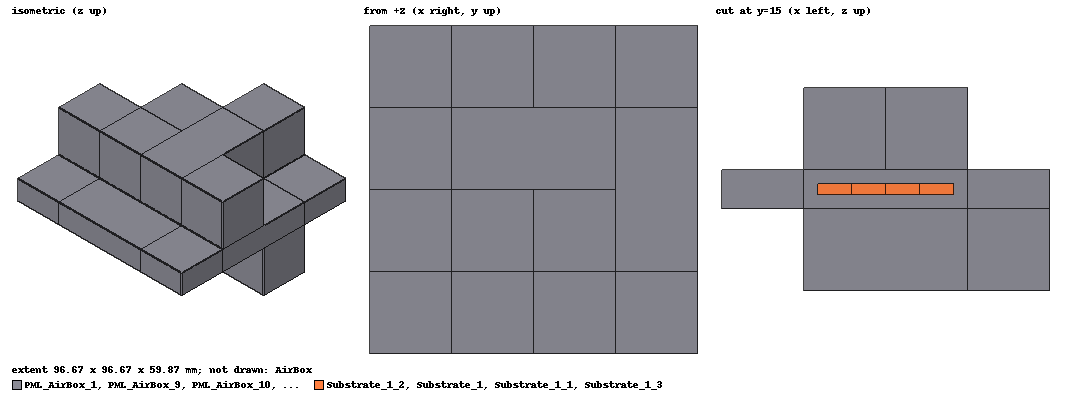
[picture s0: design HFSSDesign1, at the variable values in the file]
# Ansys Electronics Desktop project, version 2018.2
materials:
  vacuum: permittivity=1
  FR4_epoxy: permittivity=4.4 dielectric_loss_tangent=0.02
  pec: conductivity=1e+30
  PMLGroup1_Z_1: permittivity{anisotropic component1=2.7331378 component2=2.7331378 component3=0.18293991} permeability{anisotropic component1=2.7331378 component2=2.7331378 component3=0.18293991} dielectric_loss_tangent{anisotropic component1=1 component2=1 component3=-1} magnetic_loss_tangent{anisotropic component1=1 component2=1 component3=-1}
  PMLGroup1_XZ_1: permittivity{anisotropic component1=1 component2=0.01 component3=1} permeability{anisotropic component1=1 component2=0.01 component3=1} dielectric_loss_tangent{anisotropic component1=0 component2=1494.0085 component3=0} magnetic_loss_tangent{anisotropic component1=0 component2=1494.0085 component3=0}
  PMLGroup1_YZ_1: permittivity{anisotropic component1=0.01 component2=1 component3=1} permeability{anisotropic component1=0.01 component2=1 component3=1} dielectric_loss_tangent{anisotropic component1=1494.0085 component2=0 component3=0} magnetic_loss_tangent{anisotropic component1=1494.0085 component2=0 component3=0}
  PMLGroup1_XYZ_1: permittivity{anisotropic component1=2.7331378 component2=2.7331378 component3=2.7331378} permeability{anisotropic component1=2.7331378 component2=2.7331378 component3=2.7331378} dielectric_loss_tangent{anisotropic component1=1 component2=1 component3=1} magnetic_loss_tangent{anisotropic component1=1 component2=1 component3=1}

design HFSSDesign1 (HFSS, DrivenModal, model units mm)
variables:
  p = 10mm
  h = 3.2mm
  l1 = 3mm
  d = 1mm
  w = 1mm
  s = 1mm
  ra = 1.5mm
  rb = 1mm
  ls = 4mm
  la = 4.166666668mm
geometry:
  Substrate [FR4_epoxy] = box(corner=(-p /2, -p/2, 0mm), size=(p, p, h))
  Ground [pec] = box(corner=(-p /2, -p/2, 0mm), size=(p, p, -0.022mm))
  Box1 [pec] = box(corner=(d/2, -w/2, h), size=(l1, -l1, 0.035mm))
  substract1 = box(corner=(d/2, -w/2, h), size=(l1-s, -l1+s, 0.035mm))
  Box1.subtract(substract1)
  Box2 [pec] = box(corner=(-d/2, w/2, h), size=(-l1, l1, 0.035mm))
  substract2 = box(corner=(-d/2, w/2, h), size=(-l1+s, l1-s, 0.035mm))
  Box2.subtract(substract2)
  Box3 [pec] = box(corner=(2*d, -2*w, h), size=(-ls, ls, 0.035mm))
  substract3 = box(corner=(d, -ls/2 + ls/5, h), size=(-ls+d, ls/5, 0.035mm))
  substract4 = box(corner=(-d, ls/2 - ls/5, h), size=(ls-d, -ls/5, 0.035mm))
  Box3.subtract(substract3, substract4)
  Box3.rotate(axis=Z, angle=45deg)
  [Box1, Box2, Box3].rotate(axis=Z, angle=-90deg)
  Substrate_1, Substrate_2, Substrate_3 [FR4_epoxy] = Substrate.duplicate_along_line(step=(0mm, 10mm, 0mm), total=4)
  Ground_1, Ground_2, Ground_3 [pec] = Ground.duplicate_along_line(step=(0mm, 10mm, 0mm), total=4)
  Box1_1, Box1_2, Box1_3 [pec] = Box1.duplicate_along_line(step=(0mm, 10mm, 0mm), total=4)
  Box2_1, Box2_2, Box2_3 [pec] = Box2.duplicate_along_line(step=(0mm, 10mm, 0mm), total=4)
  Box3_1, Box3_2, Box3_3 [pec] = Box3.duplicate_along_line(step=(0mm, 10mm, 0mm), total=4)
  Substrate_4, Substrate_5, Substrate_6 [FR4_epoxy] = Substrate.duplicate_along_line(step=(10mm, 0mm, 0mm), total=4)
  Ground_4, Ground_5, Ground_6 [pec] = Ground.duplicate_along_line(step=(10mm, 0mm, 0mm), total=4)
  Box1_4, Box1_5, Box1_6 [pec] = Box1.duplicate_along_line(step=(10mm, 0mm, 0mm), total=4)
  Box2_4, Box2_5, Box2_6 [pec] = Box2.duplicate_along_line(step=(10mm, 0mm, 0mm), total=4)
  Box3_4, Box3_5, Box3_6 [pec] = Box3.duplicate_along_line(step=(10mm, 0mm, 0mm), total=4)
  Substrate_1_1, Substrate_1_2, Substrate_1_3 [FR4_epoxy] = Substrate_1.duplicate_along_line(step=(10mm, 0mm, 0mm), total=4)
  Substrate_2_1, Substrate_2_2, Substrate_2_3 [FR4_epoxy] = Substrate_2.duplicate_along_line(step=(10mm, 0mm, 0mm), total=4)
  Substrate_3_1, Substrate_3_2, Substrate_3_3 [FR4_epoxy] = Substrate_3.duplicate_along_line(step=(10mm, 0mm, 0mm), total=4)
  Ground_1_1, Ground_1_2, Ground_1_3 [pec] = Ground_1.duplicate_along_line(step=(10mm, 0mm, 0mm), total=4)
  Ground_2_1, Ground_2_2, Ground_2_3 [pec] = Ground_2.duplicate_along_line(step=(10mm, 0mm, 0mm), total=4)
  Ground_3_1, Ground_3_2, Ground_3_3 [pec] = Ground_3.duplicate_along_line(step=(10mm, 0mm, 0mm), total=4)
  Box1_1_1, Box1_1_2, Box1_1_3 [pec] = Box1_1.duplicate_along_line(step=(10mm, 0mm, 0mm), total=4)
  Box1_2_1, Box1_2_2, Box1_2_3 [pec] = Box1_2.duplicate_along_line(step=(10mm, 0mm, 0mm), total=4)
  Box1_3_1, Box1_3_2, Box1_3_3 [pec] = Box1_3.duplicate_along_line(step=(10mm, 0mm, 0mm), total=4)
  Box2_1_1, Box2_1_2, Box2_1_3 [pec] = Box2_1.duplicate_along_line(step=(10mm, 0mm, 0mm), total=4)
  Box2_2_1, Box2_2_2, Box2_2_3 [pec] = Box2_2.duplicate_along_line(step=(10mm, 0mm, 0mm), total=4)
  Box2_3_1, Box2_3_2, Box2_3_3 [pec] = Box2_3.duplicate_along_line(step=(10mm, 0mm, 0mm), total=4)
  Box3_1_1, Box3_1_2, Box3_1_3 [pec] = Box3_1.duplicate_along_line(step=(10mm, 0mm, 0mm), total=4)
  Box3_2_1, Box3_2_2, Box3_2_3 [pec] = Box3_2.duplicate_along_line(step=(10mm, 0mm, 0mm), total=4)
  Box3_3_1, Box3_3_2, Box3_3_3 [pec] = Box3_3.duplicate_along_line(step=(10mm, 0mm, 0mm), total=4)
  coordinate_system RelativeCS1 = origin=(0mm, 20mm, 3.235mm) x=(1mm, 0mm, 0mm) y=(0mm, 1mm, 0mm)
  [Box2_2, Box1_2, Box3_2].rotate(axis=Z, angle=90deg) in RelativeCS1
  coordinate_system RelativeCS2 = origin=(0mm, 10mm, 0mm) x=(1mm, 0mm, 0mm) y=(0mm, 1mm, 0mm) in RelativeCS1
  [Box3_3, Box1_3, Box2_3].rotate(axis=Z, angle=90deg) in RelativeCS2
  coordinate_system RelativeCS3 = origin=(10mm, -10mm, 0mm) x=(1mm, 0mm, 0mm) y=(0mm, 1mm, 0mm) in RelativeCS2
  [Box2_2_1, Box3_2_1, Box1_2_1].rotate(axis=Z, angle=90deg) in RelativeCS3
  coordinate_system RelativeCS4 = origin=(0mm, 10mm, 0mm) x=(1mm, 0mm, 0mm) y=(0mm, 1mm, 0mm) in RelativeCS3
  [Box1_3_1, Box3_3_1, Box2_3_1].rotate(axis=Z, angle=90deg) in RelativeCS4
  coordinate_system RelativeCS5 = origin=(10mm, -30mm, 0mm) x=(1mm, 0mm, 0mm) y=(0mm, 1mm, 0mm) in RelativeCS4
  [Box1_5, Box3_5, Box2_5].rotate(axis=Z, angle=90deg) in RelativeCS5
  coordinate_system RelativeCS6 = origin=(0mm, 10mm, 0mm) x=(1mm, 0mm, 0mm) y=(0mm, 1mm, 0mm) in RelativeCS5
  [Box1_1_2, Box3_1_2, Box2_1_2].rotate(axis=Z, angle=90deg) in RelativeCS6
  coordinate_system RelativeCS7 = origin=(10mm, -10mm, 0mm) x=(1mm, 0mm, 0mm) y=(0mm, 1mm, 0mm) in RelativeCS6
  [Box3_6, Box2_6, Box1_6].rotate(axis=Z, angle=90deg) in RelativeCS7
  coordinate_system RelativeCS8 = origin=(0mm, 10mm, 0mm) x=(1mm, 0mm, 0mm) y=(0mm, 1mm, 0mm) in RelativeCS7
  [Box1_1_3, Box3_1_3, Box2_1_3].rotate(axis=Z, angle=90deg) in RelativeCS8
  coordinate_system RelativeCS9 = origin=(-15mm, 5mm, -0.035mm) x=(1mm, 0mm, 0mm) y=(0mm, 1mm, 0mm) in RelativeCS8
  AirBox [vacuum] = box(corner=(-2*p - la, -2*p - la, -h - la), size=(4*p + 2*la, 4*p + 2*la, h+2*la)) in RelativeCS9
  coordinate_system FaceCS1 = face of AirBox: Origin=AirBox.vertex(1 of 8) FaceID=AirBox.face(1 of 6) AxisPosn=AirBox.vertex(2 of 8) WhichAxis=X
  PML_AirBox_1 [PMLGroup1_Z_1, oriented by FaceCS1] = sweep_along_normal(AirBox.face(1 of 6), length=2*p + la)
  coordinate_system FaceCS2 = face of AirBox: Origin=AirBox.vertex(5 of 8) FaceID=AirBox.face(2 of 6) AxisPosn=AirBox.vertex(6 of 8) WhichAxis=X
  PML_AirBox_2 [PMLGroup1_Z_1, oriented by FaceCS2] = sweep_along_normal(AirBox.face(2 of 6), length=2*p + la)
  coordinate_system FaceCS3 = face of AirBox: Origin=AirBox.vertex(4 of 8) FaceID=AirBox.face(3 of 6) AxisPosn=AirBox.vertex(7 of 8) WhichAxis=X
  PML_AirBox_3 [PMLGroup1_Z_1, oriented by FaceCS3] = sweep_along_normal(AirBox.face(3 of 6), length=2*p + la)
  coordinate_system FaceCS4 = face of AirBox: Origin=AirBox.vertex(3 of 8) FaceID=AirBox.face(4 of 6) AxisPosn=AirBox.vertex(8 of 8) WhichAxis=X
  PML_AirBox_4 [PMLGroup1_Z_1, oriented by FaceCS4] = sweep_along_normal(AirBox.face(4 of 6), length=2*p + la)
  coordinate_system FaceCS5 = face of AirBox: Origin=AirBox.vertex(2 of 8) FaceID=AirBox.face(5 of 6) AxisPosn=AirBox.vertex(5 of 8) WhichAxis=X
  PML_AirBox_5 [PMLGroup1_Z_1, oriented by FaceCS5] = sweep_along_normal(AirBox.face(5 of 6), length=2*p + la)
  coordinate_system FaceCS6 = face of AirBox: Origin=AirBox.vertex(1 of 8) FaceID=AirBox.face(6 of 6) AxisPosn=AirBox.vertex(6 of 8) WhichAxis=X
  PML_AirBox_6 [PMLGroup1_Z_1, oriented by FaceCS6] = sweep_along_normal(AirBox.face(6 of 6), length=2*p + la)
  PML_AirBox_7 [PMLGroup1_XZ_1, oriented by FaceCS3] = sweep_along_normal(PML_AirBox_1.face(at (15, -9.16667, 19.45)), length=2*p + la)
  PML_AirBox_8 [PMLGroup1_XZ_1, oriented by FaceCS4] = sweep_along_normal(PML_AirBox_1.face(at (-9.16667, 15, 19.45)), length=2*p + la)
  PML_AirBox_9 [PMLGroup1_XZ_1, oriented by FaceCS5] = sweep_along_normal(PML_AirBox_1.face(at (15, 39.1667, 19.45)), length=2*p + la)
  PML_AirBox_10 [PMLGroup1_YZ_1, oriented by FaceCS1] = sweep_along_normal(PML_AirBox_1.face(at (39.1667, 15, 19.45)), length=2*p + la)
  coordinate_system FaceCS7 = face of AirBox: Origin=AirBox.vertex(6 of 8) FaceID=AirBox.face(2 of 6) AxisPosn=AirBox.vertex(7 of 8) WhichAxis=X
  PML_AirBox_11 [PMLGroup1_YZ_1, oriented by FaceCS7] = sweep_along_normal(PML_AirBox_2.face(at (15, -9.16667, -16.25)), length=2*p + la)
  coordinate_system FaceCS8 = face of AirBox: Origin=AirBox.vertex(7 of 8) FaceID=AirBox.face(2 of 6) AxisPosn=AirBox.vertex(8 of 8) WhichAxis=X
  PML_AirBox_12 [PMLGroup1_YZ_1, oriented by FaceCS8] = sweep_along_normal(PML_AirBox_2.face(at (-9.16667, 15, -16.25)), length=2*p + la)
  PML_AirBox_13 [PMLGroup1_XZ_1, oriented by FaceCS2] = sweep_along_normal(PML_AirBox_2.face(at (15, 39.1667, -16.25)), length=2*p + la)
  PML_AirBox_14 [PMLGroup1_YZ_1, oriented by FaceCS2] = sweep_along_normal(PML_AirBox_2.face(at (39.1667, 15, -16.25)), length=2*p + la)
  PML_AirBox_15 [PMLGroup1_YZ_1, oriented by FaceCS3] = sweep_along_normal(PML_AirBox_3.face(at (-9.16667, -21.25, 1.6)), length=2*p + la)
  PML_AirBox_16 [PMLGroup1_YZ_1, oriented by FaceCS6] = sweep_along_normal(PML_AirBox_3.face(at (39.1667, -21.25, 1.6)), length=2*p + la)
  PML_AirBox_17 [PMLGroup1_YZ_1, oriented by FaceCS4] = sweep_along_normal(PML_AirBox_4.face(at (-21.25, 39.1667, 1.6)), length=2*p + la)
  PML_AirBox_18 [PMLGroup1_YZ_1, oriented by FaceCS5] = sweep_along_normal(PML_AirBox_5.face(at (39.1667, 51.25, 1.6)), length=2*p + la)
  PML_AirBox_19 [PMLGroup1_XYZ_1, oriented by FaceCS3] = sweep_along_normal(PML_AirBox_7.face(at (-9.16667, -21.25, 19.45)), length=2*p + la)
  PML_AirBox_20 [PMLGroup1_XYZ_1, oriented by FaceCS1] = sweep_along_normal(PML_AirBox_7.face(at (39.1667, -21.25, 19.45)), length=2*p + la)
  PML_AirBox_21 [PMLGroup1_XYZ_1, oriented by FaceCS4] = sweep_along_normal(PML_AirBox_8.face(at (-21.25, 39.1667, 19.45)), length=2*p + la)
  PML_AirBox_22 [PMLGroup1_XYZ_1, oriented by FaceCS5] = sweep_along_normal(PML_AirBox_9.face(at (39.1667, 51.25, 19.45)), length=2*p + la)
  PML_AirBox_23 [PMLGroup1_XYZ_1, oriented by FaceCS8] = sweep_along_normal(PML_AirBox_11.face(at (-9.16667, -21.25, -16.25)), length=2*p + la)
  PML_AirBox_24 [PMLGroup1_XYZ_1, oriented by FaceCS7] = sweep_along_normal(PML_AirBox_11.face(at (39.1667, -21.25, -16.25)), length=2*p + la)
  coordinate_system FaceCS9 = face of AirBox: Origin=AirBox.vertex(8 of 8) FaceID=AirBox.face(2 of 6) AxisPosn=AirBox.vertex(5 of 8) WhichAxis=X
  PML_AirBox_25 [PMLGroup1_XYZ_1, oriented by FaceCS9] = sweep_along_normal(PML_AirBox_12.face(at (-21.25, 39.1667, -16.25)), length=2*p + la)
  PML_AirBox_26 [PMLGroup1_XYZ_1, oriented by FaceCS2] = sweep_along_normal(PML_AirBox_13.face(at (39.1667, 51.25, -16.25)), length=2*p + la)
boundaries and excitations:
  PML_radiation1: Radiation Faces=AirBox.face(1 of 6) IsForPML
  PML_radiation2: Radiation Faces=AirBox.face(2 of 6) IsForPML
  PML_radiation3: Radiation Faces=AirBox.face(3 of 6) IsForPML
  PML_radiation4: Radiation Faces=AirBox.face(4 of 6) IsForPML
  PML_radiation5: Radiation Faces=AirBox.face(5 of 6) IsForPML
  PML_radiation6: Radiation Faces=AirBox.face(6 of 6) IsForPML
  IncPWave1: Plane Incident Wave PhiStart=0deg PhiStop=0deg PhiPoints=1 ThetaStart=0deg ThetaStop=90deg ThetaPoints=31 EoPhi=1 EoTheta=0 OriginX=0mm OriginY=0mm OriginZ=0mm IsPropagating
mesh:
  Length1: LengthBased Faces=AirBox.face(all 6) MaxLength=9.6666667mm
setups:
  Setup1: HfssDriven Frequency=9GHz MaxDeltaE=0.1 MaximumPasses=6 MinimumPasses=1 MinimumConvergedPasses=1 PercentRefinement=30 BasisOrder=1
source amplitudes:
  IncPWave1:1: 1 0deg
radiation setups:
  Monostatic: Infinite Sphere Theta=0deg..180deg step 10deg Phi=0deg..360deg step 10deg
  Bistatic: Infinite Sphere Theta=0deg..180deg step 1deg Phi=0deg..0deg step 0deg
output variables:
  PCR = ((mag(S(FloquetPort1:1,FloquetPort1:2))^2))/((mag(S(FloquetPort1:1,FloquetPort1:2)^2))+(mag(S(FloquetPort1:1,FloquetPort1:1)^2)))
  shi = (ang_deg(S(FloquetPort1:1,FloquetPort1:1))-ang_deg(S(FloquetPort1:1,FloquetPort1:2)))
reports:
  Normalized Bistatic RCS Plot 1: dB(NormRCSTotal) vs Theta on Setup1 : LastAdaptive, Bistatic [Phi=all Freq=9GHz IWavePhi=0deg IWaveTheta=0deg]
  Monostatic RCS Plot 1: dB(MonostaticRCSTotal) vs IWaveTheta on Setup1 : LastAdaptive [IWavePhi=0deg Freq=9GHz]
